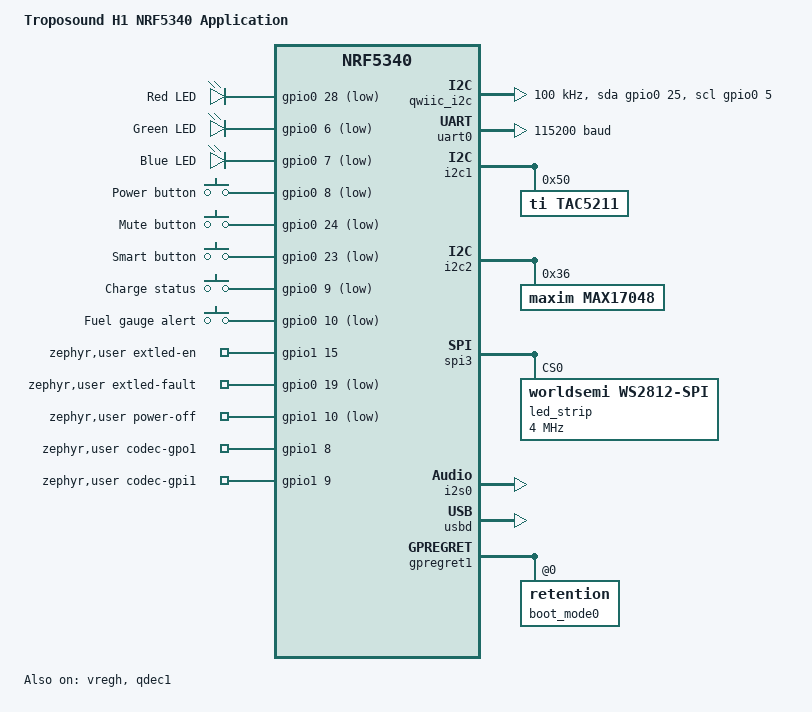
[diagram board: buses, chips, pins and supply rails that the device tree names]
/*
 * Copyright (c) 2026 Troposound
 *
 * SPDX-License-Identifier: Apache-2.0
 */

/dts-v1/;
#include <nordic/nrf5340_cpuapp_qkaa.dtsi>
#include <zephyr/dt-bindings/input/input-event-codes.h>
#include <zephyr/dt-bindings/i2c/i2c.h>
#include <zephyr/dt-bindings/led/led.h>
#include "h1_nrf5340_cpuapp-pinctrl.dtsi"

/ {
	model = "Troposound H1 NRF5340 Application";
	compatible = "troposound,h1-nrf5340-cpuapp";

	chosen {
		zephyr,console = &uart0;
		zephyr,shell-uart = &uart0;
		zephyr,uart-mcumgr = &uart0;
		zephyr,bt-mon-uart = &uart0;
		zephyr,bt-c2h-uart = &uart0;
		zephyr,bt-hci = &bt_hci_ipc0;
		zephyr,sram = &sram0_image;
		zephyr,flash = &flash0;
		zephyr,code-partition = &slot0_partition;
		zephyr,sram-secure-partition = &sram0_s;
		zephyr,sram-non-secure-partition = &sram0_ns;
		zephyr,boot-mode = &boot_mode0;
	};

	leds {
		compatible = "gpio-leds";

		red_led: led_0 {
			gpios = <&gpio0 28 GPIO_ACTIVE_LOW>;
			label = "Red LED";
		};

		green_led: led_1 {
			gpios = <&gpio0 6 GPIO_ACTIVE_LOW>;
			label = "Green LED";
		};

		blue_led: led_2 {
			gpios = <&gpio0 7 GPIO_ACTIVE_LOW>;
			label = "Blue LED";
		};
	};

	buttons {
		compatible = "gpio-keys";

		power_button: button_0 {
			gpios = <&gpio0 8 GPIO_ACTIVE_LOW>;
			label = "Power button";
			zephyr,code = <INPUT_KEY_POWER>;
		};

		mute_button: button_1 {
			gpios = <&gpio0 24 (GPIO_PULL_UP | GPIO_ACTIVE_LOW)>;
			label = "Mute button";
			zephyr,code = <INPUT_KEY_MUTE>;
		};

		smart_button: button_2 {
			gpios = <&gpio0 23 (GPIO_PULL_UP | GPIO_ACTIVE_LOW)>;
			label = "Smart button";
			zephyr,code = <INPUT_KEY_PLAYPAUSE>;
		};
	};

	gpio_inputs {
		compatible = "gpio-keys";

		charge_status: charge_status {
			gpios = <&gpio0 9 (GPIO_PULL_UP | GPIO_ACTIVE_LOW)>;
			label = "Charge status";
			zephyr,code = <INPUT_KEY_2>;
		};

		fuel_gauge_alert: fuel_gauge_alert {
			gpios = <&gpio0 10 (GPIO_PULL_UP | GPIO_ACTIVE_LOW)>;
			label = "Fuel gauge alert";
			zephyr,code = <INPUT_KEY_3>;
		};
	};

	/* Qwiic connector J2, 10k pull-ups on board. No free TWIM instance,
	 * so it is bit-banged.
	 */
	qwiic_i2c: qwiic-i2c {
		compatible = "gpio-i2c";
		status = "okay";
		clock-frequency = <I2C_BITRATE_STANDARD>;
		scl-gpios = <&gpio0 5 (GPIO_ACTIVE_HIGH | GPIO_OPEN_DRAIN)>;
		sda-gpios = <&gpio0 25 (GPIO_ACTIVE_HIGH | GPIO_OPEN_DRAIN)>;
		#address-cells = <1>;
		#size-cells = <0>;
	};

	gpio_fwd: nrf-gpio-forwarder {
		compatible = "nordic,nrf-gpio-forwarder";
		status = "okay";

		nrf21540-gpio-if {
			gpios = <&gpio0 30 0>,
				<&gpio0 31 0>,
				<&gpio0 29 0>,
				<&gpio0 4 0>;
		};
	};

	zephyr,user {
		extled-en-gpios = <&gpio1 15 GPIO_ACTIVE_HIGH>;
		extled-fault-gpios = <&gpio0 19 GPIO_ACTIVE_LOW>;
		/* LTC2950 KILL (and INT): driving it low turns the headset off. */
		power-off-gpios = <&gpio1 10 (GPIO_ACTIVE_LOW | GPIO_OPEN_DRAIN)>;
		codec-gpo1-gpios = <&gpio1 8 GPIO_ACTIVE_HIGH>;
		codec-gpi1-gpios = <&gpio1 9 GPIO_ACTIVE_HIGH>;
	};

	aliases {
		led0 = &red_led;
		led1 = &green_led;
		led2 = &blue_led;
		sw0 = &power_button;
		sw1 = &mute_button;
		sw2 = &smart_button;
		led-strip = &led_strip;
		qdec0 = &qdec1;
		fuel-gauge0 = &max17048;
		charge-status = &charge_status;
		fuel-gauge-alert = &fuel_gauge_alert;
		qwiic-i2c = &qwiic_i2c;
		watchdog0 = &wdt0;
	};
};

&vregmain {
	regulator-initial-mode = <NRF5X_REG_MODE_DCDC>;
};

&vregradio {
	regulator-initial-mode = <NRF5X_REG_MODE_DCDC>;
};

&vregh {
	status = "okay";
};

&lfxo {
	load-capacitors = "internal";
	load-capacitance-picofarad = <9>;
};

&hfxo {
	load-capacitors = "internal";
	load-capacitance-femtofarad = <13500>;
};

&gpiote {
	status = "okay";
};

&gpio0 {
	status = "okay";
};

&gpio1 {
	status = "okay";
};

&uart0 {
	status = "okay";
	current-speed = <115200>;
	pinctrl-0 = <&uart0_default>;
	pinctrl-1 = <&uart0_sleep>;
	pinctrl-names = "default", "sleep";
};

&i2c1 {
	compatible = "nordic,nrf-twim";
	status = "okay";
	pinctrl-0 = <&i2c1_default>;
	pinctrl-1 = <&i2c1_sleep>;
	pinctrl-names = "default", "sleep";

	tac5211: audio-codec@50 {
		compatible = "ti,tac5211";
		reg = <0x50>;
	};
};

&i2c2 {
	compatible = "nordic,nrf-twim";
	status = "okay";
	pinctrl-0 = <&i2c2_default>;
	pinctrl-1 = <&i2c2_sleep>;
	pinctrl-names = "default", "sleep";

	max17048: max17048@36 {
		compatible = "maxim,max17048";
		reg = <0x36>;
	};
};

&spi3 {
	compatible = "nordic,nrf-spim";
	status = "okay";
	pinctrl-0 = <&spi3_default>;
	pinctrl-1 = <&spi3_sleep>;
	pinctrl-names = "default", "sleep";

	led_strip: ws2812@0 {
		compatible = "worldsemi,ws2812-spi";
		reg = <0>;
		spi-max-frequency = <4000000>;
		chain-length = <32>;
		color-mapping = <LED_COLOR_ID_GREEN
				 LED_COLOR_ID_RED
				 LED_COLOR_ID_BLUE>;
		bits-per-symbol = <5>;
		spi-one-frame = <0x1c>;
		spi-zero-frame = <0x10>;
		reset-delay = <300>;
	};
};

&i2s0 {
	status = "okay";
	pinctrl-0 = <&i2s0_default>;
	pinctrl-1 = <&i2s0_sleep>;
	pinctrl-names = "default", "sleep";
};

&qdec1 {
	status = "okay";
	pinctrl-0 = <&qdec1_default>;
	pinctrl-1 = <&qdec1_sleep>;
	pinctrl-names = "default", "sleep";
	steps = <120>;
	led-pre = <0>;
};

zephyr_udc0: &usbd {
	status = "okay";
};

&gpregret1 {
	status = "okay";

	boot_mode0: boot_mode@0 {
		compatible = "zephyr,retention";
		status = "okay";
		reg = <0x0 0x1>;
	};
};

#include <nordic/nrf5340_cpuapp_partition.dtsi>
